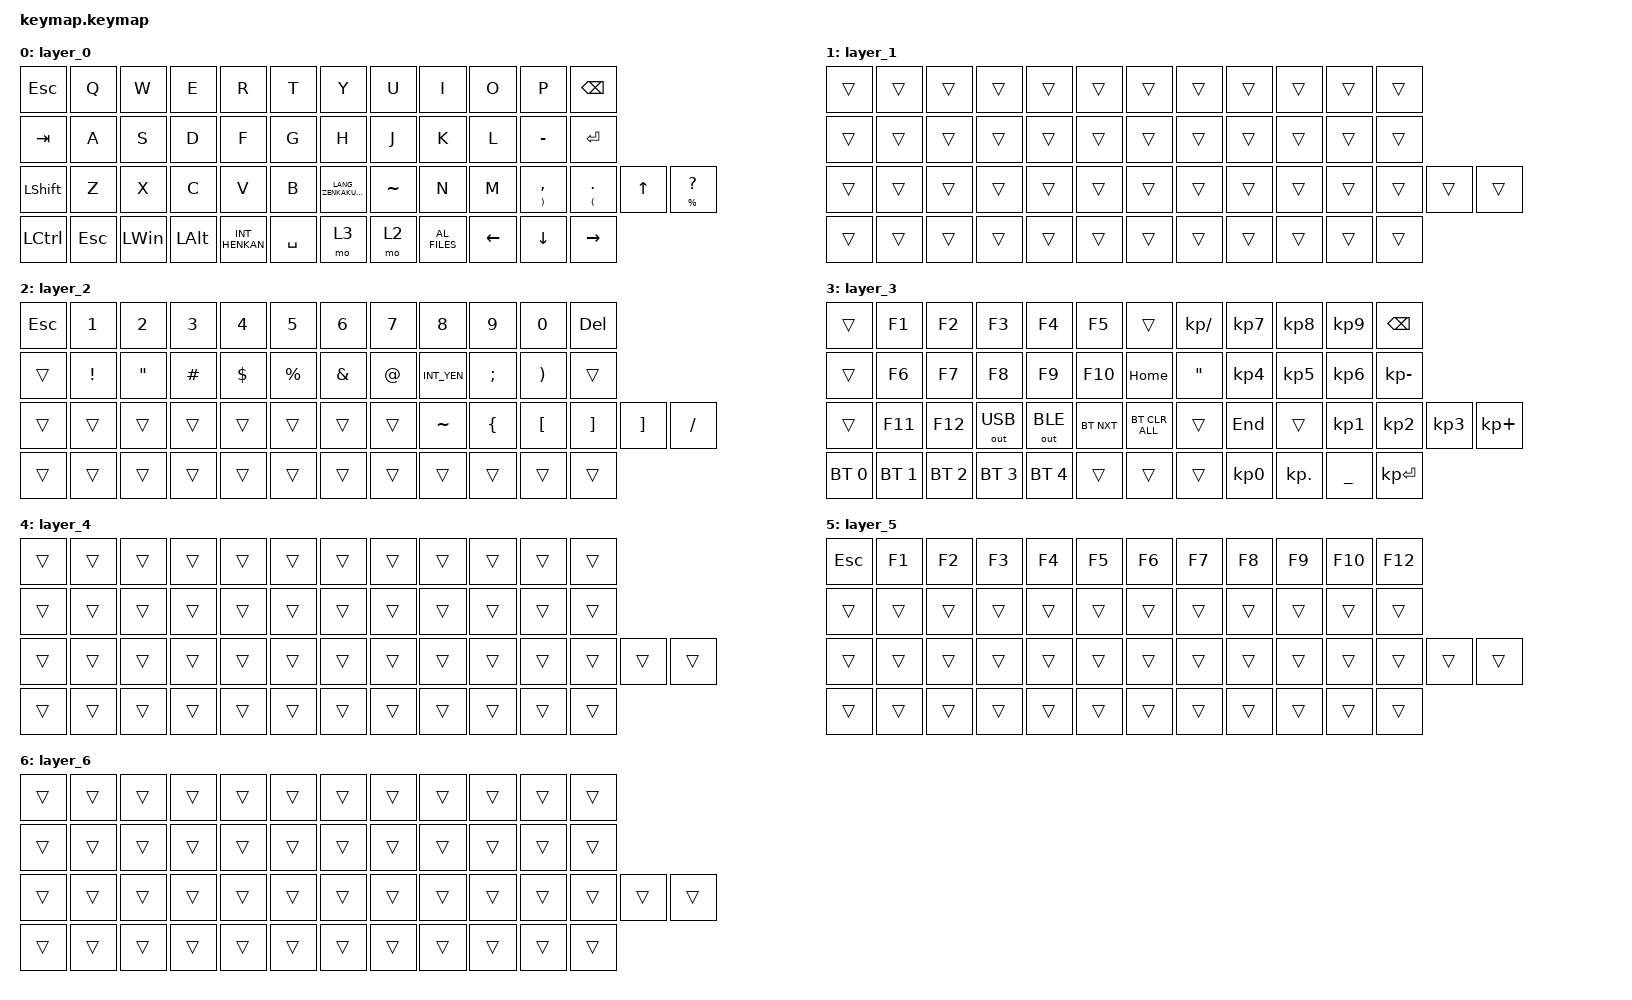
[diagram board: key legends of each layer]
#include <behaviors.dtsi>
#include <dt-bindings/zmk/bt.h>
#include <dt-bindings/zmk/keys.h>
#include <dt-bindings/zmk/outputs.h>
#include <dt-bindings/zmk/pointing.h>

/ {
    combos {
        compatible = "zmk,combos";

        bt_clear {
            bindings = <&bt BT_CLR>;
            key-positions = <28 29>;
            layers = <2>;
        };

        left-click {
            bindings = <&mkp LCLK>;
            key-positions = <19 20>;
        };

        right-click {
            bindings = <&mkp RCLK>;
            key-positions = <21 22>;
        };

        mddle-click {
            bindings = <&mkp MCLK>;
            key-positions = <20 21>;
        };

        next-pagej {
            bindings = <&mkp MB5>;
            key-positions = <34 35>;
        };

        prev-page {
            bindings = <&mkp MB4>;
            key-positions = <34 33>;
        };

        down {
            bindings = <&msc MOVE_Y(-10)>;
            key-positions = <7 8>;
        };

        up {
            bindings = <&msc MOVE_Y(10)>;
            key-positions = <8 9>;
        };
    };

    keymap {
        compatible = "zmk,keymap";

        layer_0 {
            bindings = <
&kp ESC    &kp Q       &kp W         &kp E     &kp R           &kp T      &kp Y                    &kp U      &kp I           &kp O           &kp P           &kp BSPC
&kp TAB    &kp A       &kp S         &kp D     &kp F           &kp G      &kp H                    &kp J      &kp K           &kp L           &kp MINUS       &kp ENTER
&kp LSHFT  &kp Z       &kp X         &kp C     &kp V           &kp B      &kp LANG_ZENKAKUHANKAKU  &kp TILDE  &kp N           &kp M           &mt RPAR COMMA  &mt LEFT_PARENTHESIS DOT  &kp UP_ARROW  &mt PERCENT QUESTION
&kp LCTRL  &kp ESCAPE  &kp LEFT_WIN  &kp LALT  &kp INT_HENKAN  &kp SPACE  &mo 3                    &mo 2      &kp C_AL_FILES  &kp LEFT_ARROW  &kp DOWN_ARROW  &kp RIGHT_ARROW
            >;
        };

        layer_1 {
            bindings = <
&trans  &trans  &trans  &trans  &trans  &trans  &trans  &trans  &trans  &trans  &trans  &trans
&trans  &trans  &trans  &trans  &trans  &trans  &trans  &trans  &trans  &trans  &trans  &trans
&trans  &trans  &trans  &trans  &trans  &trans  &trans  &trans  &trans  &trans  &trans  &trans  &trans  &trans
&trans  &trans  &trans  &trans  &trans  &trans  &trans  &trans  &trans  &trans  &trans  &trans
            >;
        };

        layer_2 {
            bindings = <
&kp ESCAPE  &kp N1    &kp N2   &kp N3    &kp N4      &kp N5     &kp N6         &kp N7       &kp N8       &kp N9          &kp N0                 &kp DELETE
&trans      &kp EXCL  &kp DQT  &kp HASH  &kp DOLLAR  &kp PRCNT  &kp AMPERSAND  &kp AT_SIGN  &kp INT_YEN  &kp SEMICOLON   &kp RIGHT_PARENTHESIS  &trans
&trans      &trans    &trans   &trans    &trans      &trans     &trans         &trans       &kp TILDE    &kp LEFT_BRACE  &kp LBKT               &kp RBKT    &kp RIGHT_BRACKET  &kp SLASH
&trans      &trans    &trans   &trans    &trans      &trans     &trans         &trans       &trans       &trans          &trans                 &trans
            >;
        };

        layer_3 {
            bindings = <
&trans        &kp F1        &kp F2        &kp F3        &kp F4        &kp F5      &trans          &kp KP_DIVIDE  &kp KP_NUMBER_7  &kp KP_NUMBER_8  &kp KP_NUMBER_9  &kp BACKSPACE
&trans        &kp F6        &kp F7        &kp F8        &kp F9        &kp F10     &kp HOME        &kp DQT        &kp KP_NUMBER_4  &kp KP_NUMBER_5  &kp KP_NUMBER_6  &kp KP_MINUS
&trans        &kp F11       &kp F12       &out OUT_USB  &out OUT_BLE  &bt BT_NXT  &bt BT_CLR_ALL  &trans         &kp END          &trans           &kp KP_NUMBER_1  &kp KP_NUMBER_2  &kp KP_NUMBER_3  &kp KP_PLUS
&bt BT_SEL 0  &bt BT_SEL 1  &bt BT_SEL 2  &bt BT_SEL 3  &bt BT_SEL 4  &trans      &trans          &trans         &kp KP_NUMBER_0  &kp KP_DOT       &kp UNDER        &kp KP_ENTER
            >;
        };

        layer_4 {
            bindings = <
&trans  &trans  &trans  &trans  &trans  &trans  &trans  &trans  &trans  &trans  &trans  &trans
&trans  &trans  &trans  &trans  &trans  &trans  &trans  &trans  &trans  &trans  &trans  &trans
&trans  &trans  &trans  &trans  &trans  &trans  &trans  &trans  &trans  &trans  &trans  &trans  &trans  &trans
&trans  &trans  &trans  &trans  &trans  &trans  &trans  &trans  &trans  &trans  &trans  &trans
            >;
        };

        layer_5 {
            bindings = <
&kp ESC  &kp F1  &kp F2  &kp F3  &kp F4  &kp F5  &kp F6  &kp F7  &kp F8  &kp F9  &kp F10  &kp F12
&trans   &trans  &trans  &trans  &trans  &trans  &trans  &trans  &trans  &trans  &trans   &trans
&trans   &trans  &trans  &trans  &trans  &trans  &trans  &trans  &trans  &trans  &trans   &trans   &trans  &trans
&trans   &trans  &trans  &trans  &trans  &trans  &trans  &trans  &trans  &trans  &trans   &trans
            >;
        };

        layer_6 {
            bindings = <
&trans  &trans  &trans  &trans  &trans  &trans  &trans  &trans  &trans  &trans  &trans  &trans
&trans  &trans  &trans  &trans  &trans  &trans  &trans  &trans  &trans  &trans  &trans  &trans
&trans  &trans  &trans  &trans  &trans  &trans  &trans  &trans  &trans  &trans  &trans  &trans  &trans  &trans
&trans  &trans  &trans  &trans  &trans  &trans  &trans  &trans  &trans  &trans  &trans  &trans
            >;
        };
    };
};
